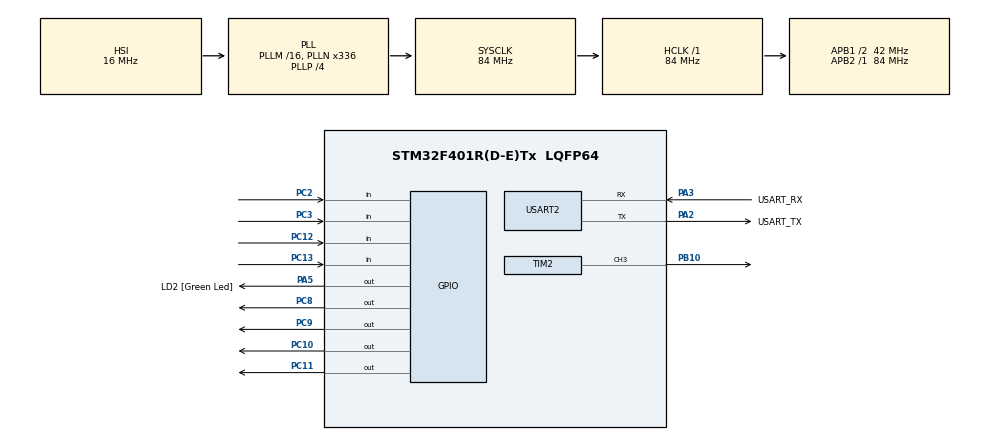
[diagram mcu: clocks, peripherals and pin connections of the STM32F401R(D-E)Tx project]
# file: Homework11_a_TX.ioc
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Mcu.Family=STM32F4
Mcu.Name=STM32F401R(D-E)Tx
Mcu.Package=LQFP64
NVIC.PriorityGroup=NVIC_PRIORITYGROUP_4
NVIC.TIM3_IRQn=true\:0\:0\:false\:false\:true\:true\:true\:true
NVIC.TIM4_IRQn=true\:0\:0\:false\:false\:true\:true\:true\:true
PA13.GPIO_Label=TMS
PA13.Mode=Trace_Asynchronous_SW
PA13.Signal=SYS_JTMS-SWDIO
PA14.GPIO_Label=TCK
PA14.Mode=Trace_Asynchronous_SW
PA14.Signal=SYS_JTCK-SWCLK
PA2.GPIO_Label=USART_TX
PA2.GPIO_Mode=GPIO_MODE_AF_PP
PA2.GPIO_PuPd=GPIO_NOPULL
PA2.GPIO_Speed=GPIO_SPEED_FREQ_LOW
PA2.Mode=Asynchronous
PA2.Signal=USART2_TX
PA3.GPIO_Label=USART_RX
PA3.GPIO_Mode=GPIO_MODE_AF_PP
PA3.GPIO_PuPd=GPIO_NOPULL
PA3.GPIO_Speed=GPIO_SPEED_FREQ_LOW
PA3.Mode=Asynchronous
PA3.Signal=USART2_RX
PA5.GPIO_Label=LD2 [Green Led]
PA5.GPIO_Mode=GPIO_MODE_OUTPUT_PP
PA5.GPIO_PuPd=GPIO_NOPULL
PA5.GPIO_Speed=GPIO_SPEED_FREQ_LOW
PA5.Signal=GPIO_Output
PB10.Signal=S_TIM2_CH3
PB3.GPIO_Label=SWO
PB3.Mode=Trace_Asynchronous_SW
PB3.Signal=SYS_JTDO-SWO
PC10.Signal=GPIO_Output
PC11.Signal=GPIO_Output
PC12.Signal=GPIO_Input
PC13-ANTI_TAMP.Signal=GPIO_Input
PC14-OSC32_IN.Mode=LSE-External-Oscillator
PC14-OSC32_IN.Signal=RCC_OSC32_IN
PC15-OSC32_OUT.Mode=LSE-External-Oscillator
PC15-OSC32_OUT.Signal=RCC_OSC32_OUT
PC2.Signal=GPIO_Input
PC3.Signal=GPIO_Input
PC8.Signal=GPIO_Output
PC9.Signal=GPIO_Output
PH0\ -\ OSC_IN.Mode=HSE-External-Clock-Source
PH0\ -\ OSC_IN.Signal=RCC_OSC_IN
PH1\ -\ OSC_OUT.Mode=HSE-External-Clock-Source
PH1\ -\ OSC_OUT.Signal=RCC_OSC_OUT
ProjectManager.HeapSize=0x200
ProjectManager.StackSize=0x400
ProjectManager.TargetToolchain=STM32CubeIDE
RCC.48MHZClocksFreq_Value=48000000
RCC.AHBFreq_Value=84000000
RCC.APB1CLKDivider=RCC_HCLK_DIV2
RCC.APB1Freq_Value=42000000
RCC.APB1TimFreq_Value=84000000
RCC.APB2Freq_Value=84000000
RCC.APB2TimFreq_Value=84000000
RCC.CortexFreq_Value=84000000
RCC.HCLKFreq_Value=84000000
RCC.HSE_VALUE=8000000
RCC.HSI_VALUE=16000000
RCC.PLLN=336
RCC.PLLP=RCC_PLLP_DIV4
RCC.PLLQ=7
RCC.SYSCLKFreq_VALUE=84000000
RCC.SYSCLKSource=RCC_SYSCLKSOURCE_PLLCLK
RCC.VCOOutputFreq_Value=336000000
SH.S_TIM2_CH3.0=TIM2_CH3,PWM Generation3 CH3
TIM2.Channel-PWM\ Generation3\ CH3=TIM_CHANNEL_3
TIM2.Period=25
TIM2.Prescaler=83
TIM2.Pulse-PWM\ Generation3\ CH3=12
TIM3.Period=415
TIM3.Prescaler=83
TIM3.TIM_MasterOutputTrigger=TIM_TRGO_UPDATE
TIM4.Period=99
TIM4.Prescaler=839
USART2.VirtualMode=VM_ASYNC
VP_TIM3_VS_ClockSourceINT.Mode=Internal
VP_TIM4_VS_ClockSourceINT.Mode=Internal
board=NUCLEO-F401RE

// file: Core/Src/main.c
/* USER CODE BEGIN Header */
/**
  ******************************************************************************
  * @file           : main.c
  * @brief          : Main program body
  ******************************************************************************
  * @attention
  *
  * Copyright (c) 2025 STMicroelectronics.
  * All rights reserved.
  *
  * This software is licensed under terms that can be found in the LICENSE file
  * in the root directory of this software component.
  * If no LICENSE file comes with this software, it is provided AS-IS.
  *
  ******************************************************************************
  */
/* USER CODE END Header */
#include "main.h"

TIM_HandleTypeDef htim2;
TIM_HandleTypeDef htim3;
TIM_HandleTypeDef htim4;

UART_HandleTypeDef huart2;

/* USER CODE BEGIN PV */
int i;
uint8_t byte;

uint16_t column_pins[] = {
	GPIO_PIN_11,
	GPIO_PIN_10,
	GPIO_PIN_9,
	GPIO_PIN_8,
};

uint16_t row_pins[] = {
	GPIO_PIN_3,
	GPIO_PIN_2,
	GPIO_PIN_13,
	GPIO_PIN_12,
};

uint8_t symbols[4][4] = {
	{'F','E','D','C'},
	{'B','A','9','8'},
	{'7','6','5','4'},
	{'3','2','1','0'},
};

struct {
	int count;
	uint8_t printed;
} buttons[4][4] = {0};

int col = 0;

uint8_t flag[4] = {0};

/* USER CODE END PV */

void SystemClock_Config(void);
static void MX_GPIO_Init(void);
static void MX_USART2_UART_Init(void);
static void MX_TIM2_Init(void);
static void MX_TIM3_Init(void);
static void MX_TIM4_Init(void);

/* USER CODE BEGIN 0 */

void sendsByte(uint8_t byteToSend){
	byte = byteToSend;
	HAL_TIM_Base_Start_IT(&htim3);
	HAL_TIM_PWM_Start(&htim2, TIM_CHANNEL_3);
	i = 0;
	//parity bit

}

void HAL_TIM_PeriodElapsedCallback(TIM_HandleTypeDef *htim){

	if(htim->Instance == htim3.Instance){

		if(i > 8){
			HAL_TIM_Base_Stop_IT(&htim3);
			return;
		}

		if(i == 8){
			HAL_TIM_PWM_Stop(&htim2, TIM_CHANNEL_3);
		}else if((byte >> i) & 0x1){
			HAL_TIM_PWM_Stop(&htim2, TIM_CHANNEL_3);
		}else{
			HAL_TIM_PWM_Start(&htim2, TIM_CHANNEL_3);
		}
		i++;

	}else if(htim->Instance == htim4.Instance){
		for(int row=0; row<4; row++) {
			if(HAL_GPIO_ReadPin(GPIOC, row_pins[row]) == GPIO_PIN_RESET) {

				buttons[row][col].count++;

			} else {
				buttons[row][col].count = 0;
				buttons[row][col].printed = 0;

			}

		}

		HAL_GPIO_WritePin(GPIOC, column_pins[col], GPIO_PIN_RESET);
		col = (col+1) % 4;
		HAL_GPIO_WritePin(GPIOC, column_pins[col], GPIO_PIN_SET);

	}

}

/* USER CODE END 0 */

int main(void)
{

  /* MCU Configuration--------------------------------------------------------*/

  /* Reset of all peripherals, Initializes the Flash interface and the Systick. */
  HAL_Init();

  /* Configure the system clock */
  SystemClock_Config();

  /* Initialize all configured peripherals */
  MX_GPIO_Init();
  MX_USART2_UART_Init();
  MX_TIM2_Init();
  MX_TIM3_Init();
  MX_TIM4_Init();
  /* USER CODE BEGIN 2 */

  HAL_TIM_Base_Start_IT(&htim4);

  //sendsByte('A');

  //HAL_Delay(10000);
  //sendsByte('C');

  /* USER CODE END 2 */

  /* Infinite loop */
  while (1)
  {

    /* USER CODE BEGIN 3 */
	uint8_t buf[4] = {0, '\r', '\n', '\0'};

	for(int i=0; i<4; i++){
		for(int j=0; j<4; j++){
			if(buttons[i][j].count>=10 && !buttons[i][j].printed){
				buttons[i][j].printed = 1;
				buf[0] = symbols[i][j];
				sendsByte(buf[0]);

			}
		}
	}

  }
  /* USER CODE END 3 */
}

void SystemClock_Config(void)
{
  RCC_OscInitTypeDef RCC_OscInitStruct = {0};
  RCC_ClkInitTypeDef RCC_ClkInitStruct = {0};

  /** Configure the main internal regulator output voltage
  */
  __HAL_RCC_PWR_CLK_ENABLE();
  __HAL_PWR_VOLTAGESCALING_CONFIG(PWR_REGULATOR_VOLTAGE_SCALE2);

  /** Initializes the RCC Oscillators according to the specified parameters
  * in the RCC_OscInitTypeDef structure.
  */
  RCC_OscInitStruct.OscillatorType = RCC_OSCILLATORTYPE_HSI;
  RCC_OscInitStruct.HSIState = RCC_HSI_ON;
  RCC_OscInitStruct.HSICalibrationValue = RCC_HSICALIBRATION_DEFAULT;
  RCC_OscInitStruct.PLL.PLLState = RCC_PLL_ON;
  RCC_OscInitStruct.PLL.PLLSource = RCC_PLLSOURCE_HSI;
  RCC_OscInitStruct.PLL.PLLM = 16;
  RCC_OscInitStruct.PLL.PLLN = 336;
  RCC_OscInitStruct.PLL.PLLP = RCC_PLLP_DIV4;
  RCC_OscInitStruct.PLL.PLLQ = 7;
  if (HAL_RCC_OscConfig(&RCC_OscInitStruct) != HAL_OK)
  {
    Error_Handler();
  }

  /** Initializes the CPU, AHB and APB buses clocks
  */
  RCC_ClkInitStruct.ClockType = RCC_CLOCKTYPE_HCLK|RCC_CLOCKTYPE_SYSCLK
                              |RCC_CLOCKTYPE_PCLK1|RCC_CLOCKTYPE_PCLK2;
  RCC_ClkInitStruct.SYSCLKSource = RCC_SYSCLKSOURCE_PLLCLK;
  RCC_ClkInitStruct.AHBCLKDivider = RCC_SYSCLK_DIV1;
  RCC_ClkInitStruct.APB1CLKDivider = RCC_HCLK_DIV2;
  RCC_ClkInitStruct.APB2CLKDivider = RCC_HCLK_DIV1;

  if (HAL_RCC_ClockConfig(&RCC_ClkInitStruct, FLASH_LATENCY_2) != HAL_OK)
  {
    Error_Handler();
  }
}

static void MX_TIM2_Init(void)
{

  TIM_MasterConfigTypeDef sMasterConfig = {0};
  TIM_OC_InitTypeDef sConfigOC = {0};

  htim2.Instance = TIM2;
  htim2.Init.Prescaler = 83;
  htim2.Init.CounterMode = TIM_COUNTERMODE_UP;
  htim2.Init.Period = 25;
  htim2.Init.ClockDivision = TIM_CLOCKDIVISION_DIV1;
  htim2.Init.AutoReloadPreload = TIM_AUTORELOAD_PRELOAD_DISABLE;
  if (HAL_TIM_PWM_Init(&htim2) != HAL_OK)
  {
    Error_Handler();
  }
  sMasterConfig.MasterOutputTrigger = TIM_TRGO_RESET;
  sMasterConfig.MasterSlaveMode = TIM_MASTERSLAVEMODE_DISABLE;
  if (HAL_TIMEx_MasterConfigSynchronization(&htim2, &sMasterConfig) != HAL_OK)
  {
    Error_Handler();
  }
  sConfigOC.OCMode = TIM_OCMODE_PWM1;
  sConfigOC.Pulse = 12;
  sConfigOC.OCPolarity = TIM_OCPOLARITY_HIGH;
  sConfigOC.OCFastMode = TIM_OCFAST_DISABLE;
  if (HAL_TIM_PWM_ConfigChannel(&htim2, &sConfigOC, TIM_CHANNEL_3) != HAL_OK)
  {
    Error_Handler();
  }
  HAL_TIM_MspPostInit(&htim2);

}

static void MX_TIM3_Init(void)
{

  TIM_ClockConfigTypeDef sClockSourceConfig = {0};
  TIM_MasterConfigTypeDef sMasterConfig = {0};

  htim3.Instance = TIM3;
  htim3.Init.Prescaler = 83;
  htim3.Init.CounterMode = TIM_COUNTERMODE_UP;
  htim3.Init.Period = 415;
  htim3.Init.ClockDivision = TIM_CLOCKDIVISION_DIV1;
  htim3.Init.AutoReloadPreload = TIM_AUTORELOAD_PRELOAD_DISABLE;
  if (HAL_TIM_Base_Init(&htim3) != HAL_OK)
  {
    Error_Handler();
  }
  sClockSourceConfig.ClockSource = TIM_CLOCKSOURCE_INTERNAL;
  if (HAL_TIM_ConfigClockSource(&htim3, &sClockSourceConfig) != HAL_OK)
  {
    Error_Handler();
  }
  sMasterConfig.MasterOutputTrigger = TIM_TRGO_UPDATE;
  sMasterConfig.MasterSlaveMode = TIM_MASTERSLAVEMODE_DISABLE;
  if (HAL_TIMEx_MasterConfigSynchronization(&htim3, &sMasterConfig) != HAL_OK)
  {
    Error_Handler();
  }

}

static void MX_TIM4_Init(void)
{

  TIM_ClockConfigTypeDef sClockSourceConfig = {0};
  TIM_MasterConfigTypeDef sMasterConfig = {0};

  htim4.Instance = TIM4;
  htim4.Init.Prescaler = 839;
  htim4.Init.CounterMode = TIM_COUNTERMODE_UP;
  htim4.Init.Period = 99;
  htim4.Init.ClockDivision = TIM_CLOCKDIVISION_DIV1;
  htim4.Init.AutoReloadPreload = TIM_AUTORELOAD_PRELOAD_DISABLE;
  if (HAL_TIM_Base_Init(&htim4) != HAL_OK)
  {
    Error_Handler();
  }
  sClockSourceConfig.ClockSource = TIM_CLOCKSOURCE_INTERNAL;
  if (HAL_TIM_ConfigClockSource(&htim4, &sClockSourceConfig) != HAL_OK)
  {
    Error_Handler();
  }
  sMasterConfig.MasterOutputTrigger = TIM_TRGO_RESET;
  sMasterConfig.MasterSlaveMode = TIM_MASTERSLAVEMODE_DISABLE;
  if (HAL_TIMEx_MasterConfigSynchronization(&htim4, &sMasterConfig) != HAL_OK)
  {
    Error_Handler();
  }

}

static void MX_USART2_UART_Init(void)
{

  huart2.Instance = USART2;
  huart2.Init.BaudRate = 115200;
  huart2.Init.WordLength = UART_WORDLENGTH_8B;
  huart2.Init.StopBits = UART_STOPBITS_1;
  huart2.Init.Parity = UART_PARITY_NONE;
  huart2.Init.Mode = UART_MODE_TX_RX;
  huart2.Init.HwFlowCtl = UART_HWCONTROL_NONE;
  huart2.Init.OverSampling = UART_OVERSAMPLING_16;
  if (HAL_UART_Init(&huart2) != HAL_OK)
  {
    Error_Handler();
  }

}

static void MX_GPIO_Init(void)
{
  GPIO_InitTypeDef GPIO_InitStruct = {0};

  /* GPIO Ports Clock Enable */
  __HAL_RCC_GPIOC_CLK_ENABLE();
  __HAL_RCC_GPIOH_CLK_ENABLE();
  __HAL_RCC_GPIOA_CLK_ENABLE();
  __HAL_RCC_GPIOB_CLK_ENABLE();

  /*Configure GPIO pin Output Level */
  HAL_GPIO_WritePin(LD2_GPIO_Port, LD2_Pin, GPIO_PIN_RESET);

  /*Configure GPIO pin Output Level */
  HAL_GPIO_WritePin(GPIOC, GPIO_PIN_8|GPIO_PIN_9|GPIO_PIN_10|GPIO_PIN_11, GPIO_PIN_RESET);

  /*Configure GPIO pins : PC13 PC2 PC3 PC12 */
  GPIO_InitStruct.Pin = GPIO_PIN_13|GPIO_PIN_2|GPIO_PIN_3|GPIO_PIN_12;
  GPIO_InitStruct.Mode = GPIO_MODE_INPUT;
  GPIO_InitStruct.Pull = GPIO_NOPULL;
  HAL_GPIO_Init(GPIOC, &GPIO_InitStruct);

  /*Configure GPIO pin : LD2_Pin */
  GPIO_InitStruct.Pin = LD2_Pin;
  GPIO_InitStruct.Mode = GPIO_MODE_OUTPUT_PP;
  GPIO_InitStruct.Pull = GPIO_NOPULL;
  GPIO_InitStruct.Speed = GPIO_SPEED_FREQ_LOW;
  HAL_GPIO_Init(LD2_GPIO_Port, &GPIO_InitStruct);

  /*Configure GPIO pins : PC8 PC9 PC10 PC11 */
  GPIO_InitStruct.Pin = GPIO_PIN_8|GPIO_PIN_9|GPIO_PIN_10|GPIO_PIN_11;
  GPIO_InitStruct.Mode = GPIO_MODE_OUTPUT_PP;
  GPIO_InitStruct.Pull = GPIO_NOPULL;
  GPIO_InitStruct.Speed = GPIO_SPEED_FREQ_LOW;
  HAL_GPIO_Init(GPIOC, &GPIO_InitStruct);

}

void Error_Handler(void)
{
  __disable_irq();
  while (1)
  {
  }
}
